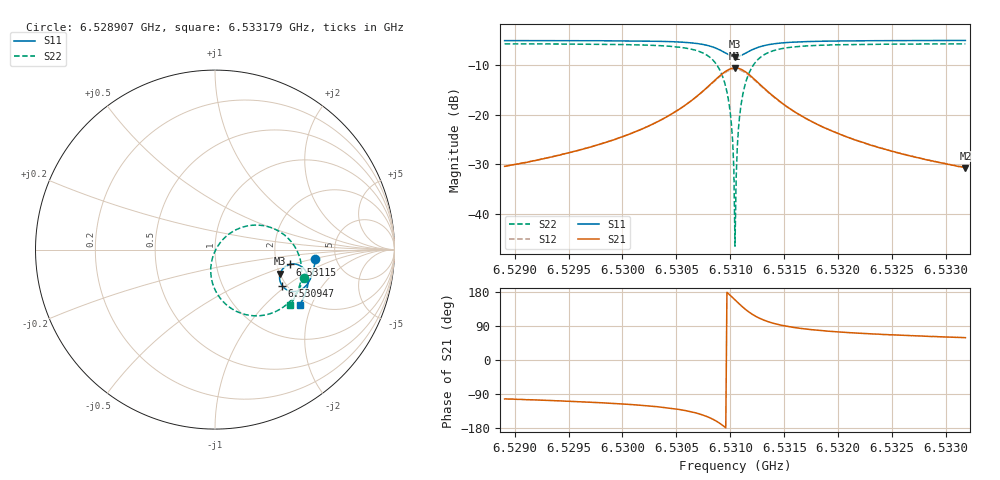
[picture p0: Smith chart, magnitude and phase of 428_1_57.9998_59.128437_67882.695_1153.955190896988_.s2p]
#  HZ  S  RI  R  50.00
! Rohde & Schwarz Vector Network Analyzer
! Rohde-Schwarz,ZNB20-2Port,1311601062101988,3.16
! Created: UTC 3/21/2024, 1:09:25 AM
! freq[Hz]  re:S11  im:S11  re:S21  im:S21  re:S12  im:S12  re:S22  im:S22
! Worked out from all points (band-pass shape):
!   401 points, 6.528907 GHz to 6.533179 GHz, reference 50 ohm
!   highest |S21| = -10.53 dB at 6.531043 GHz (marker M1); lowest = -30.7 dB at 6.533179 GHz (marker M2)
!   |S21| within 3 dB of the highest: 6.530831 GHz to 6.531258 GHz (427.1 kHz wide, 0.00654 % of centre)
!   lowest |S11| = -8.2 dB at 6.531043 GHz (marker M3), VSWR 2.26, Z = 100 - j31.8 ohm
!   |S11| at or under -10 dB: nowhere
!   |S22| runs from -46.5 to -5.7 dB; largest |S21 - S12| = 0.011
!   S11 on the Smith chart (normalised r, x): 6.528907 GHz: 3.46, -0.55; 6.530947 GHz: 1.90, -0.93; 6.53115 GHz: 2.36, -0.48; 6.533179 GHz: 1.82, -1.65
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6.5289071e9  0.5584 -0.0542  -0.00671 -0.0295  -0.00719 -0.0294  0.4962 -0.157
6.5296226e9  0.5486 -0.1133  -0.0157 -0.0419  -0.0167 -0.0417  0.4667 -0.2231
6.5303381e9  0.5208 -0.183  -0.0482 -0.072  -0.0502 -0.0707  0.3878 -0.315
6.5307653e9  0.452 -0.2325  -0.1523 -0.0977  -0.1548 -0.0918  0.1869 -0.3655
6.5308721e9  0.4085 -0.2279  -0.22 -0.0728  -0.2194 -0.0637  0.0714 -0.3137
6.5309468e9  0.3746 -0.2018  -0.27 -0.0164  -0.265 -0.00699  -0.00533 -0.2113
6.5309789e9  0.3643 -0.1824  -0.2837 0.0209  -0.2762 0.0292  -0.0219 -0.1467
6.5310002e9  0.3605 -0.1673  -0.287 0.0492  -0.2784 0.0561  -0.0233 -0.0994
6.5310109e9  0.3597 -0.1591  -0.2868 0.064  -0.2775 0.0701  -0.0207 -0.0752
6.5310216e9  0.3599 -0.151  -0.2851 0.0787  -0.2752 0.0841  -0.0154 -0.0509
6.5310323e9  0.3609 -0.1429  -0.2819 0.0933  -0.2719 0.0979  -0.0077 -0.0272
6.531043e9  0.3628 -0.1347  -0.2772 0.1078  -0.2669 0.1113  0.0022 -0.00418
6.5310536e9  0.3656 -0.1268  -0.2711 0.1217  -0.2608 0.1245  0.0143 0.0178
6.5310643e9  0.3691 -0.1195  -0.2636 0.1349  -0.2535 0.1367  0.0286 0.0382
6.531075e9  0.3735 -0.1124  -0.2551 0.1473  -0.2451 0.1481  0.0446 0.0572
6.5310964e9  0.3841 -0.1006  -0.235 0.1687  -0.2257 0.168  0.0811 0.0891
6.5311498e9  0.416 -0.0827  -0.1766 0.2004  -0.1701 0.1976  0.1827 0.1324
6.5312245e9  0.4577 -0.083  -0.1031 0.203  -0.0998 0.2001  0.3066 0.1244
6.5313313e9  0.4938 -0.105  -0.0399 0.1732  -0.0383 0.1718  0.4102 0.0601
6.5317585e9  0.5186 -0.1842  0.0149 0.0837  0.0159 0.0835  0.4828 -0.1281
6.532474e9  0.4989 -0.2559  0.0174 0.04  0.0179 0.0399  0.4555 -0.2444
6.5331788e9  0.4714 -0.3081  0.015 0.0249  0.0156 0.0249  0.4205 -0.306
